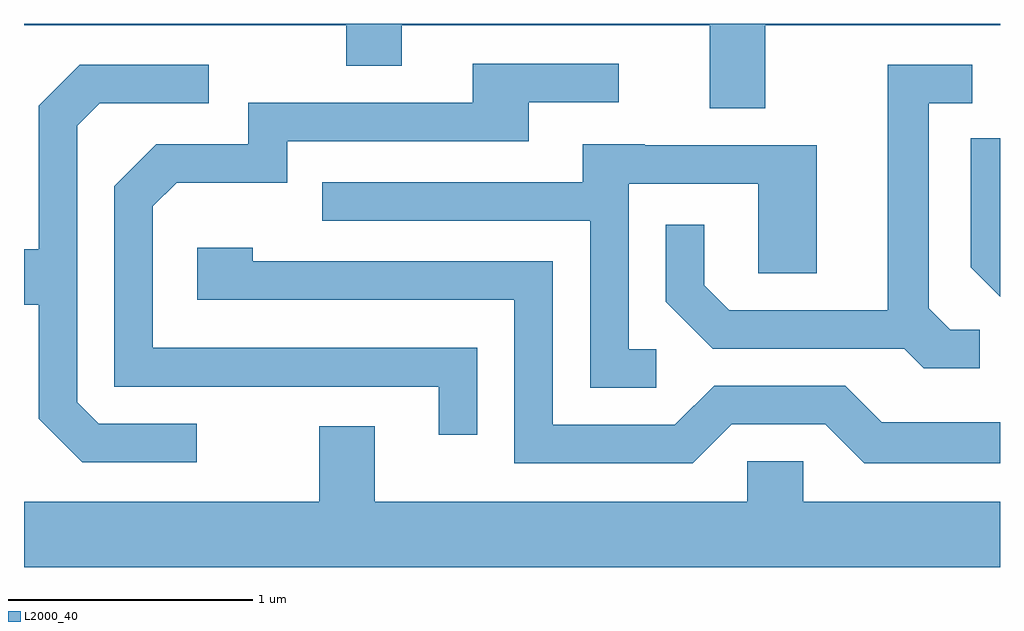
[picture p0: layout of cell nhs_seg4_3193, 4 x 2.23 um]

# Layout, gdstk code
import gdstk
lib = gdstk.Library(unit=1e-6, precision=1e-09)
def P(c, l, *ps):  # polygons
    for p in ps: c.add(gdstk.Polygon(p, *l))
L2000_40 = (2000, 40)

nhs_seg4_3193 = lib.new_cell('nhs_seg4_3193')
P(nhs_seg4_3193, L2000_40, [(280.649,1387.976),(281.611,1387.976),(281.611,1387.982),(277.611,1387.982),(277.611,1387.976),(278.931,1387.976),(278.931,1387.811),(279.159,1387.811),(279.159,1387.976),(280.421,1387.976),(280.421,1387.636),(280.649,1387.636)],
  [(279.469,1386.654),(278.139,1386.654),(278.139,1387.234),(278.237,1387.331),(278.689,1387.331),(278.689,1387.501),(279.679,1387.501),(279.679,1387.661),(280.048,1387.661),(280.048,1387.819),(279.451,1387.819),(279.451,1387.659),(278.531,1387.659),(278.531,1387.489),(278.154,1387.489),(277.981,1387.317),(277.981,1386.496),(279.311,1386.496),(279.311,1386.298),(279.469,1386.298)],
  [(278.318,1386.344),(277.917,1386.344),(277.829,1386.432),(277.829,1387.564),(277.922,1387.656),(278.368,1387.656),(278.368,1387.814),(277.839,1387.814),(277.671,1387.647),(277.671,1387.059),(277.611,1387.059),(277.611,1386.831),(277.671,1386.831),(277.671,1386.364),(277.849,1386.186),(278.318,1386.186)],
  [(281.528,1386.729),(281.407,1386.729),(281.319,1386.817),(281.319,1387.656),(281.498,1387.656),(281.498,1387.814),(281.151,1387.814),(281.151,1386.809),(280.502,1386.809),(280.399,1386.912),(280.399,1387.158),(280.241,1387.158),(280.241,1386.844),(280.434,1386.651),(281.219,1386.651),(281.299,1386.571),(281.528,1386.571)],
  [(281.611,1387.513),(281.491,1387.513),(281.491,1386.984),(281.611,1386.864)],
  [(280.203,1386.649),(280.089,1386.649),(280.089,1387.326),(280.621,1387.326),(280.621,1386.961),(280.859,1386.961),(280.859,1387.484),(280.155,1387.484),(280.155,1387.489),(279.901,1387.489),(279.901,1387.334),(278.833,1387.334),(278.833,1387.176),(279.931,1387.176),(279.931,1386.491),(280.203,1386.491)],
  [(280.512,1386.341),(280.894,1386.341),(281.054,1386.181),(281.611,1386.181),(281.611,1386.349),(281.127,1386.349),(280.977,1386.499),(280.439,1386.499),(280.279,1386.339),(279.779,1386.339),(279.779,1387.009),(278.549,1387.009),(278.549,1387.064),(278.321,1387.064),(278.321,1386.851),(279.621,1386.851),(279.621,1386.181),(280.352,1386.181)],
  [(281.611,1386.024),(280.804,1386.024),(280.804,1386.189),(280.576,1386.189),(280.576,1386.024),(279.049,1386.024),(279.049,1386.334),(278.821,1386.334),(278.821,1386.024),(277.611,1386.024),(277.611,1385.756),(281.611,1385.756)])

lib.write_gds('nhs_seg4_3193.gds')
